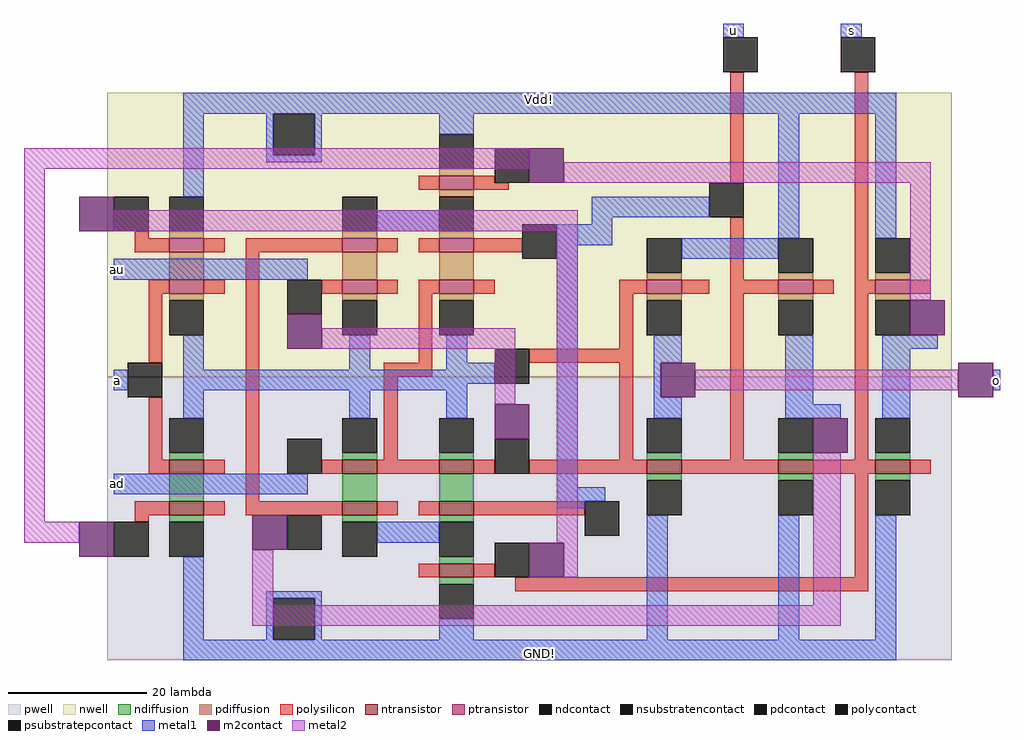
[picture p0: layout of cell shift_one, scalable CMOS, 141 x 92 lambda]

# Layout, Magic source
magic
tech scmos
<< nwell >>
rect -7 9 115 50
<< pwell >>
rect -7 -32 115 9
<< ntransistor >>
rect 2 -5 7 -3
rect 27 -5 32 -3
rect 41 -5 46 -3
rect 71 -5 76 -3
rect 90 -5 95 -3
rect 104 -5 109 -3
rect 2 -11 7 -9
rect 27 -11 32 -9
rect 41 -11 46 -9
rect 41 -20 46 -18
<< ptransistor >>
rect 41 36 46 38
rect 2 27 7 29
rect 27 27 32 29
rect 41 27 46 29
rect 2 21 7 23
rect 27 21 32 23
rect 41 21 46 23
rect 71 21 76 23
rect 90 21 95 23
rect 104 21 109 23
<< ndiffusion >>
rect 2 -3 7 -2
rect 2 -9 7 -5
rect 27 -3 32 -2
rect 41 -3 46 -2
rect 71 -3 76 -2
rect 90 -3 95 -2
rect 104 -3 109 -2
rect 27 -9 32 -5
rect 41 -9 46 -5
rect 71 -6 76 -5
rect 2 -12 7 -11
rect 27 -12 32 -11
rect 41 -12 46 -11
rect 90 -6 95 -5
rect 41 -18 46 -17
rect 104 -6 109 -5
rect 41 -21 46 -20
<< pdiffusion >>
rect 41 38 46 39
rect 41 35 46 36
rect 2 29 7 30
rect 27 29 32 30
rect 41 29 46 30
rect 2 23 7 27
rect 2 20 7 21
rect 27 23 32 27
rect 41 23 46 27
rect 71 23 76 24
rect 90 23 95 24
rect 104 23 109 24
rect 27 20 32 21
rect 41 20 46 21
rect 71 20 76 21
rect 90 20 95 21
rect 104 20 109 21
<< ndcontact >>
rect 2 -2 7 3
rect 27 -2 32 3
rect 41 -2 46 3
rect 71 -2 76 3
rect 90 -2 95 3
rect 104 -2 109 3
rect 2 -17 7 -12
rect 27 -17 32 -12
rect 41 -17 46 -12
rect 71 -11 76 -6
rect 90 -11 95 -6
rect 104 -11 109 -6
rect 41 -26 46 -21
<< pdcontact >>
rect 41 39 46 44
rect 2 30 7 35
rect 27 30 32 35
rect 41 30 46 35
rect 2 15 7 20
rect 71 24 76 29
rect 90 24 95 29
rect 104 24 109 29
rect 27 15 32 20
rect 41 15 46 20
rect 71 15 76 20
rect 90 15 95 20
rect 104 15 109 20
<< psubstratepcontact >>
rect 17 -29 23 -23
<< nsubstratencontact >>
rect 17 41 23 47
<< polysilicon >>
rect 38 36 41 38
rect 46 37 49 38
rect 83 37 85 53
rect 46 36 51 37
rect -3 29 -1 30
rect -3 27 2 29
rect 7 27 10 29
rect 13 27 27 29
rect 32 27 35 29
rect 38 27 41 29
rect 46 27 53 29
rect -1 21 2 23
rect 7 21 10 23
rect -1 11 1 21
rect -1 -3 1 6
rect -1 -5 2 -3
rect 7 -5 10 -3
rect 13 -9 15 27
rect 83 23 85 32
rect 101 23 103 53
rect 24 21 27 23
rect 32 21 35 23
rect 38 21 41 23
rect 46 21 49 23
rect 67 21 71 23
rect 76 21 80 23
rect 83 21 90 23
rect 95 21 98 23
rect 101 21 104 23
rect 109 21 112 23
rect 38 11 40 21
rect 67 13 69 21
rect 33 9 40 11
rect 33 -3 35 9
rect 54 11 69 13
rect 24 -5 27 -3
rect 32 -5 41 -3
rect 46 -5 49 -3
rect 67 -3 69 11
rect 83 -3 85 21
rect 101 -3 103 21
rect 54 -5 71 -3
rect 76 -5 90 -3
rect 95 -5 104 -3
rect 109 -5 112 -3
rect -3 -11 2 -9
rect 7 -11 10 -9
rect 13 -11 27 -9
rect 32 -11 35 -9
rect 38 -11 41 -9
rect 46 -11 62 -9
rect -3 -12 -1 -11
rect 38 -20 41 -18
rect 46 -20 49 -18
rect 101 -20 103 -5
rect 52 -22 103 -20
<< polycontact >>
rect 82 53 87 58
rect 99 53 104 58
rect 49 37 54 42
rect -6 30 -1 35
rect 80 32 85 37
rect -4 6 1 11
rect 53 26 58 31
rect 19 18 24 23
rect 19 -5 24 0
rect 49 8 54 13
rect 49 -5 54 0
rect -6 -17 -1 -12
rect 19 -16 24 -11
rect 62 -14 67 -9
rect 49 -20 54 -15
<< metal1 >>
rect 82 58 85 60
rect 99 58 102 60
rect 4 47 107 50
rect 4 35 7 47
rect 16 41 17 47
rect 23 41 24 47
rect 16 40 24 41
rect 41 44 46 47
rect 32 30 41 33
rect 63 32 80 35
rect 63 31 66 32
rect 58 28 66 31
rect 90 29 93 47
rect 104 29 107 47
rect -6 23 22 26
rect -6 7 -4 10
rect 4 10 7 15
rect 28 10 31 15
rect 42 11 45 15
rect 42 10 49 11
rect 4 8 49 10
rect 4 7 45 8
rect 4 3 7 7
rect 28 3 31 7
rect 42 3 45 7
rect -6 -8 22 -5
rect 58 -7 61 28
rect 76 26 90 29
rect 72 11 76 15
rect 72 6 73 11
rect 72 3 76 6
rect 91 5 95 15
rect 105 13 113 15
rect 91 3 99 5
rect 105 3 109 13
rect 121 7 122 10
rect 58 -9 65 -7
rect 58 -10 62 -9
rect 32 -15 41 -12
rect 4 -29 7 -17
rect 16 -23 24 -22
rect 16 -29 17 -23
rect 23 -29 24 -23
rect 41 -29 46 -26
rect 71 -29 74 -11
rect 90 -29 93 -11
rect 104 -29 107 -11
rect 4 -32 107 -29
<< m2contact >>
rect 54 37 59 42
rect -11 30 -6 35
rect 19 13 24 18
rect 49 0 54 5
rect 109 15 114 20
rect 73 6 78 11
rect 116 6 121 11
rect 95 -2 100 3
rect -11 -17 -6 -12
rect 14 -16 19 -11
rect 54 -20 59 -15
<< metal2 >>
rect -19 39 54 42
rect -19 -12 -16 39
rect 59 37 112 40
rect -6 30 61 33
rect 24 13 52 16
rect 49 5 52 13
rect -19 -15 -11 -12
rect 58 -15 61 30
rect 109 20 112 37
rect 78 7 116 10
rect 14 -24 17 -16
rect 59 -20 61 -15
rect 95 -24 99 -2
rect 14 -27 99 -24
<< labels >>
rlabel metal1 121 7 122 10 3 o
rlabel metal1 4 48 107 50 1 Vdd!
rlabel metal1 4 -32 107 -30 5 GND!
rlabel metal1 -6 -8 -5 -5 7 ad
rlabel metal1 -6 23 -5 26 7 au
rlabel metal1 -6 7 -5 10 7 a
rlabel metal1 82 58 85 60 1 u
rlabel metal1 99 58 102 60 1 s
<< end >>
